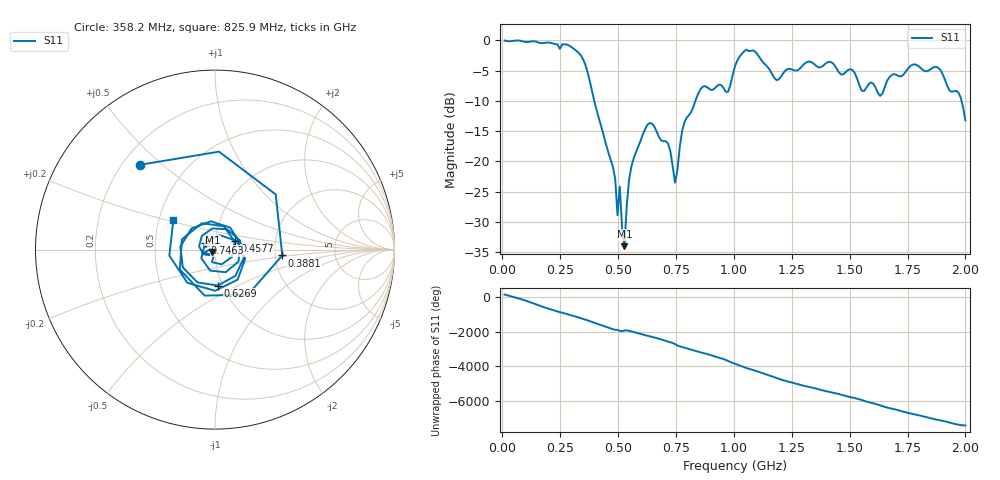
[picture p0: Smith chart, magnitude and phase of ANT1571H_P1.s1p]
!Created with skrf (http://scikit-rf.org).
# Hz S RI R 50.0
!freq ReS11 ImS11
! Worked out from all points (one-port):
!   201 points, 10 MHz to 2 GHz, reference 50 ohm
!   lowest |S11| = -34.0 dB at 527.4 MHz (marker M1), VSWR 1.04, Z = 48.5 - j1.31 ohm
!   |S11| at or under -10 dB: 397.2 MHz to 834 MHz (436.8 MHz wide, 71 % of centre); 1.983 GHz to end of sweep
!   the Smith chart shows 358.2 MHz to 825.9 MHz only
!   S11 on the Smith chart (normalised r, x): 358.2 MHz: 0.27, +0.42; 388.1 MHz: 2.19, -0.17; 457.8 MHz: 1.24, +0.12; 626.9 MHz: 0.95, -0.40; 746.3 MHz: 0.89, +0.07; 825.9 MHz: 0.59, +0.22
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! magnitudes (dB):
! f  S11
! 10 MHz  0.0
! 258.8 MHz  -0.7
! 358.2 MHz  -4.0
! 388.1 MHz  -8.5
! 457.8 MHz  -18.5
! 487.6 MHz  -22.9
! 497.6 MHz  -28.9
! 507.5 MHz  -24.2
! 527.4 MHz  -34.0
! 557.2 MHz  -20.9
! 626.9 MHz  -13.9
! 716.5 MHz  -17.1
! 746.3 MHz  -23.5
! 756.2 MHz  -21.4
! 786.1 MHz  -13.6
! 825.9 MHz  -10.9
! 865.7 MHz  -7.7
! 975.1 MHz  -8.5
! 1.005 GHz  -4.3
! 1.055 GHz  -1.5
! 1.184 GHz  -6.6
! 1.254 GHz  -4.9
! 1.502 GHz  -4.8
! 1.632 GHz  -9.2
! 1.751 GHz  -4.7
! 1.881 GHz  -4.5
! 1.97 GHz  -8.6
! 2 GHz  -13.2
